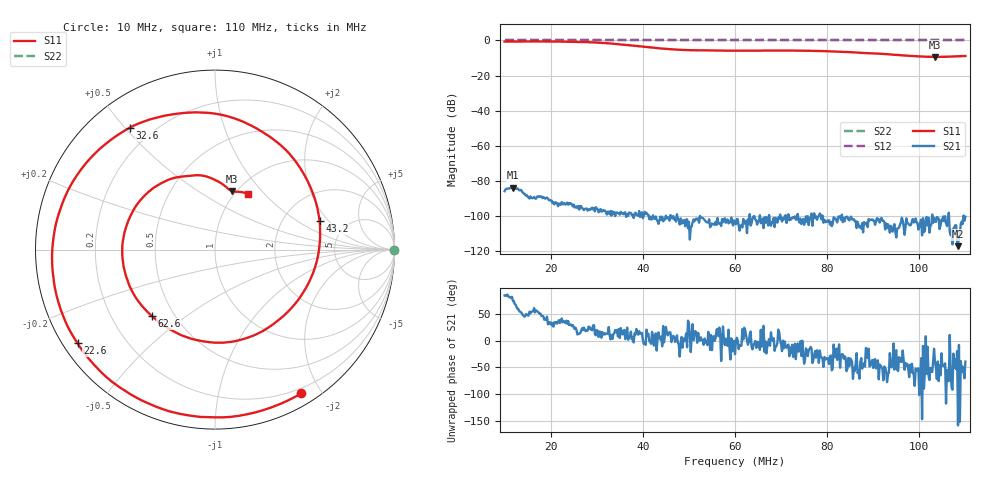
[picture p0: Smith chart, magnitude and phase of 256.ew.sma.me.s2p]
! Anritsu VNA Master:  Model: MS2036C/10/77
! SN:  1601066
! /card0/usr/256.ew.sma.me.s2p
! Existing Calibration Information:
! TYPE:  Current Settings,  Active Cal Settings
! TIME:  12/19/2017 02:37:42 PM,  12/19/2017 02:22:10 PM
! INTERNAL TEMP:  46.3 C,  45.0 C
! # POINTS:  501,  501
! START FREQ:  10.000 MHz,  10.000 MHz
! STOP FREQ:  110.000 MHz,  110.000 MHz
! SOURCE POWER:  High,  High
! IFBW:  100 Hz,  100 Hz
! AVG FACTOR:  1 ,  1
! REF PLANE 1:  0 mm,  0 mm
! REF PLANE 2:  0 mm,  0 mm
! CAL TYPE:  Full S11,  Full S11
! CAL METHOD:  SOLT,  SOLT
! CAL LINE TYPE:  Coax,  Coax
! DUT PORT 1:  N-Conn(F),  N-Conn(F)
! DUT PORT 2:  K-Conn(F),  K-Conn(F)
! CAL STATUS:  OK: Accuracy High,  --
# GHZ S RI R 50.0
! FREQ.GHZ  S11RE  S11IM  S21RE  S21IM  S12RE  S12IM  S22RE  S22IM
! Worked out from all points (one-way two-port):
!   501 points, 10 MHz to 110 MHz, reference 50 ohm
!   highest |S21| = -83.65 dB at 11.8 MHz (marker M1); lowest = -117.0 dB at 108.4 MHz (marker M2)
!   lowest |S11| = -9.4 dB at 103.4 MHz (marker M3), VSWR 2.03, Z = 47.8 + j35.3 ohm
!   |S11| at or under -10 dB: nowhere
!   |S22| runs from 0.0 to 0.0 dB; largest |S21 - S12| = 1
!   S11 on the Smith chart (normalised r, x): 10 MHz: 0.14, -1.76; 22.6 MHz: 0.04, -0.31; 32.6 MHz: 0.12, +0.52; 43.2 MHz: 3.18, +1.59; 62.6 MHz: 0.38, -0.38; 110 MHz: 1.14, +0.82
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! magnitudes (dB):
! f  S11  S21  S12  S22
! 10 MHz  -0.6  -85.7  0.0  0.0
! 11.8 MHz  -0.6  -83.7  0.0  0.0
! 22.6 MHz  -0.7  -93.2  0.0  0.0
! 26.8 MHz  -0.9  -95.2  0.0  0.0
! 29.6 MHz  -1.1  -97.2  0.0  0.0
! 32.6 MHz  -1.6  -97.5  0.0  0.0
! 36.4 MHz  -2.5  -100.3  0.0  0.0
! 43.2 MHz  -4.4  -102.8  0.0  0.0
! 43.4 MHz  -4.4  -104.4  0.0  0.0
! 46.8 MHz  -5.1  -101.8  0.0  0.0
! 49.8 MHz  -5.5  -106.8  0.0  0.0
! 60 MHz  -5.8  -103.4  0.0  0.0
! 62.6 MHz  -5.8  -109.6  0.0  0.0
! 70.8 MHz  -5.7  -99.9  0.0  0.0
! 76.8 MHz  -5.9  -105.4  0.0  0.0
! 84.4 MHz  -6.6  -100.3  0.0  0.0
! 93.4 MHz  -7.9  -106.0  0.0  0.0
! 100 MHz  -9.1  -106.1  0.0  0.0
! 103.4 MHz  -9.4  -102.9  0.0  0.0
! 106 MHz  -9.3  -105.6  0.0  0.0
! 108.4 MHz  -9.0  -117.0  0.0  0.0
! 110 MHz  -8.8  -100.3  0.0  0.0
